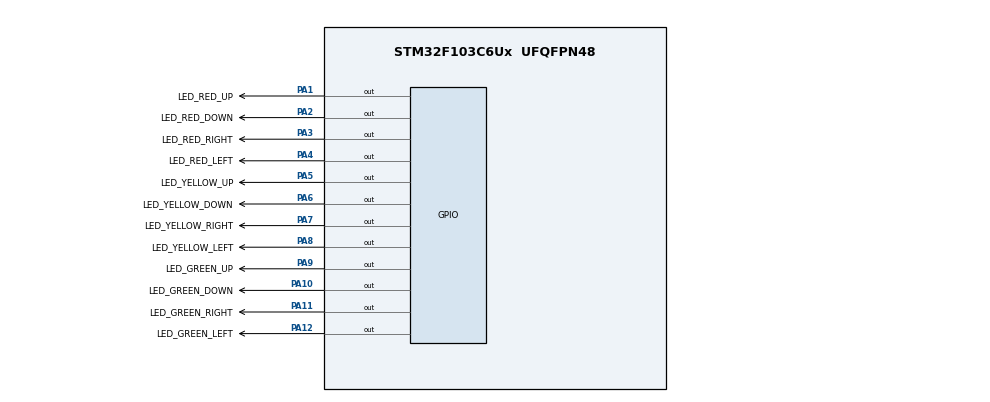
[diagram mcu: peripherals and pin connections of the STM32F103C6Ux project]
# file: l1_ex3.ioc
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Mcu.Family=STM32F1
Mcu.Name=STM32F103C6Ux
Mcu.Package=UFQFPN48
NVIC.PriorityGroup=NVIC_PRIORITYGROUP_4
PA1.GPIO_Label=LED_RED_UP
PA1.PinState=GPIO_PIN_SET
PA1.Signal=GPIO_Output
PA10.GPIO_Label=LED_GREEN_DOWN
PA10.Signal=GPIO_Output
PA11.GPIO_Label=LED_GREEN_RIGHT
PA11.PinState=GPIO_PIN_SET
PA11.Signal=GPIO_Output
PA12.GPIO_Label=LED_GREEN_LEFT
PA12.PinState=GPIO_PIN_SET
PA12.Signal=GPIO_Output
PA2.GPIO_Label=LED_RED_DOWN
PA2.PinState=GPIO_PIN_SET
PA2.Signal=GPIO_Output
PA3.GPIO_Label=LED_RED_RIGHT
PA3.Signal=GPIO_Output
PA4.GPIO_Label=LED_RED_LEFT
PA4.Signal=GPIO_Output
PA5.GPIO_Label=LED_YELLOW_UP
PA5.Signal=GPIO_Output
PA6.GPIO_Label=LED_YELLOW_DOWN
PA6.Signal=GPIO_Output
PA7.GPIO_Label=LED_YELLOW_RIGHT
PA7.Signal=GPIO_Output
PA8.GPIO_Label=LED_YELLOW_LEFT
PA8.Signal=GPIO_Output
PA9.GPIO_Label=LED_GREEN_UP
PA9.Signal=GPIO_Output
ProjectManager.HeapSize=0x200
ProjectManager.StackSize=0x400
ProjectManager.TargetToolchain=STM32CubeIDE
RCC.APB1Freq_Value=8000000
RCC.APB2Freq_Value=8000000
VP_SYS_VS_ND.Mode=No_Debug
board=custom

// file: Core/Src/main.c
/* USER CODE BEGIN Header */
/**
  ******************************************************************************
  * @file           : main.c
  * @brief          : Main program body
  ******************************************************************************
  * @attention
  *
  * <h2><center>&copy; Copyright (c) 2025 STMicroelectronics.
  * All rights reserved.</center></h2>
  *
  * This software component is licensed by ST under BSD 3-Clause license,
  * the "License"; You may not use this file except in compliance with the
  * License. You may obtain a copy of the License at:
  *                        opensource.org/licenses/BSD-3-Clause
  *
  ******************************************************************************
  */
/* USER CODE END Header */
#include "main.h"

void SystemClock_Config(void);
static void MX_GPIO_Init(void);

int main(void)
{

  /* MCU Configuration--------------------------------------------------------*/

  /* Reset of all peripherals, Initializes the Flash interface and the Systick. */
  HAL_Init();

  /* Configure the system clock */
  SystemClock_Config();

  /* Initialize all configured peripherals */
  MX_GPIO_Init();

  /* Infinite loop */
  /* USER CODE BEGIN WHILE */

  // RED 6s -> GREEN 4s -> YELLOW 2s
  // UP and DOWN RED first

  int counter =12*100;
  while (1)
  {
	if(counter == 800)
	{
		HAL_GPIO_WritePin(LED_GREEN_LEFT_GPIO_Port, LED_GREEN_LEFT_Pin, RESET);
		HAL_GPIO_WritePin(LED_GREEN_RIGHT_GPIO_Port, LED_GREEN_RIGHT_Pin, RESET);
		HAL_GPIO_WritePin(LED_YELLOW_LEFT_GPIO_Port, LED_YELLOW_LEFT_Pin, SET);
		HAL_GPIO_WritePin(LED_YELLOW_RIGHT_GPIO_Port, LED_YELLOW_RIGHT_Pin, SET);
	}
	else if (counter == 600)
	{
		HAL_GPIO_WritePin(LED_RED_LEFT_GPIO_Port, LED_RED_LEFT_Pin, SET);
		HAL_GPIO_WritePin(LED_RED_RIGHT_GPIO_Port, LED_RED_RIGHT_Pin, SET);
		HAL_GPIO_WritePin(LED_YELLOW_LEFT_GPIO_Port, LED_YELLOW_LEFT_Pin, RESET);
		HAL_GPIO_WritePin(LED_YELLOW_RIGHT_GPIO_Port, LED_YELLOW_RIGHT_Pin, RESET);

		HAL_GPIO_WritePin(LED_GREEN_UP_GPIO_Port, LED_GREEN_UP_Pin, SET);
		HAL_GPIO_WritePin(LED_GREEN_DOWN_GPIO_Port, LED_GREEN_DOWN_Pin, SET);
		HAL_GPIO_WritePin(LED_RED_UP_GPIO_Port, LED_RED_UP_Pin, RESET);
		HAL_GPIO_WritePin(LED_RED_DOWN_GPIO_Port, LED_RED_DOWN_Pin, RESET);
	}
	else if(counter == 200)
	{
		HAL_GPIO_WritePin(LED_GREEN_UP_GPIO_Port, LED_GREEN_UP_Pin, RESET);
		HAL_GPIO_WritePin(LED_GREEN_DOWN_GPIO_Port, LED_GREEN_DOWN_Pin, RESET);
		HAL_GPIO_WritePin(LED_YELLOW_UP_GPIO_Port, LED_YELLOW_UP_Pin, SET);
		HAL_GPIO_WritePin(LED_YELLOW_DOWN_GPIO_Port, LED_YELLOW_DOWN_Pin, SET);
	}
	else if(counter == 0)
	{
		counter=1200;
		HAL_GPIO_WritePin(LED_RED_LEFT_GPIO_Port, LED_RED_LEFT_Pin, RESET);
		HAL_GPIO_WritePin(LED_RED_RIGHT_GPIO_Port, LED_RED_RIGHT_Pin, RESET);
		HAL_GPIO_WritePin(LED_GREEN_LEFT_GPIO_Port, LED_GREEN_LEFT_Pin, SET);
		HAL_GPIO_WritePin(LED_GREEN_RIGHT_GPIO_Port, LED_GREEN_RIGHT_Pin, SET);

		HAL_GPIO_WritePin(LED_YELLOW_UP_GPIO_Port, LED_YELLOW_UP_Pin, RESET);
		HAL_GPIO_WritePin(LED_YELLOW_DOWN_GPIO_Port, LED_YELLOW_DOWN_Pin, RESET);
		HAL_GPIO_WritePin(LED_RED_UP_GPIO_Port, LED_RED_UP_Pin, SET);
		HAL_GPIO_WritePin(LED_RED_DOWN_GPIO_Port, LED_RED_DOWN_Pin, SET);
	}
	counter--;
	HAL_Delay(5);
    /* USER CODE END WHILE */

  }
}

void SystemClock_Config(void)
{
  RCC_OscInitTypeDef RCC_OscInitStruct = {0};
  RCC_ClkInitTypeDef RCC_ClkInitStruct = {0};

  /** Initializes the RCC Oscillators according to the specified parameters
  * in the RCC_OscInitTypeDef structure.
  */
  RCC_OscInitStruct.OscillatorType = RCC_OSCILLATORTYPE_HSI;
  RCC_OscInitStruct.HSIState = RCC_HSI_ON;
  RCC_OscInitStruct.HSICalibrationValue = RCC_HSICALIBRATION_DEFAULT;
  RCC_OscInitStruct.PLL.PLLState = RCC_PLL_NONE;
  if (HAL_RCC_OscConfig(&RCC_OscInitStruct) != HAL_OK)
  {
    Error_Handler();
  }
  /** Initializes the CPU, AHB and APB buses clocks
  */
  RCC_ClkInitStruct.ClockType = RCC_CLOCKTYPE_HCLK|RCC_CLOCKTYPE_SYSCLK
                              |RCC_CLOCKTYPE_PCLK1|RCC_CLOCKTYPE_PCLK2;
  RCC_ClkInitStruct.SYSCLKSource = RCC_SYSCLKSOURCE_HSI;
  RCC_ClkInitStruct.AHBCLKDivider = RCC_SYSCLK_DIV1;
  RCC_ClkInitStruct.APB1CLKDivider = RCC_HCLK_DIV1;
  RCC_ClkInitStruct.APB2CLKDivider = RCC_HCLK_DIV1;

  if (HAL_RCC_ClockConfig(&RCC_ClkInitStruct, FLASH_LATENCY_0) != HAL_OK)
  {
    Error_Handler();
  }
}

static void MX_GPIO_Init(void)
{
  GPIO_InitTypeDef GPIO_InitStruct = {0};

  /* GPIO Ports Clock Enable */
  __HAL_RCC_GPIOA_CLK_ENABLE();

  /*Configure GPIO pin Output Level */
  HAL_GPIO_WritePin(GPIOA, LED_RED_UP_Pin|LED_RED_DOWN_Pin|LED_GREEN_RIGHT_Pin|LED_GREEN_LEFT_Pin, GPIO_PIN_SET);

  /*Configure GPIO pin Output Level */
  HAL_GPIO_WritePin(GPIOA, LED_RED_RIGHT_Pin|LED_RED_LEFT_Pin|LED_YELLOW_UP_Pin|LED_YELLOW_DOWN_Pin
                          |LED_YELLOW_RIGHT_Pin|LED_YELLOW_LEFT_Pin|LED_GREEN_UP_Pin|LED_GREEN_DOWN_Pin, GPIO_PIN_RESET);

  /*Configure GPIO pins : LED_RED_UP_Pin LED_RED_DOWN_Pin LED_RED_RIGHT_Pin LED_RED_LEFT_Pin
                           LED_YELLOW_UP_Pin LED_YELLOW_DOWN_Pin LED_YELLOW_RIGHT_Pin LED_YELLOW_LEFT_Pin
                           LED_GREEN_UP_Pin LED_GREEN_DOWN_Pin LED_GREEN_RIGHT_Pin LED_GREEN_LEFT_Pin */
  GPIO_InitStruct.Pin = LED_RED_UP_Pin|LED_RED_DOWN_Pin|LED_RED_RIGHT_Pin|LED_RED_LEFT_Pin
                          |LED_YELLOW_UP_Pin|LED_YELLOW_DOWN_Pin|LED_YELLOW_RIGHT_Pin|LED_YELLOW_LEFT_Pin
                          |LED_GREEN_UP_Pin|LED_GREEN_DOWN_Pin|LED_GREEN_RIGHT_Pin|LED_GREEN_LEFT_Pin;
  GPIO_InitStruct.Mode = GPIO_MODE_OUTPUT_PP;
  GPIO_InitStruct.Pull = GPIO_NOPULL;
  GPIO_InitStruct.Speed = GPIO_SPEED_FREQ_LOW;
  HAL_GPIO_Init(GPIOA, &GPIO_InitStruct);

}

void Error_Handler(void)
{
  __disable_irq();
  while (1)
  {
  }
}

/************************ (C) COPYRIGHT STMicroelectronics *****END OF FILE****/
